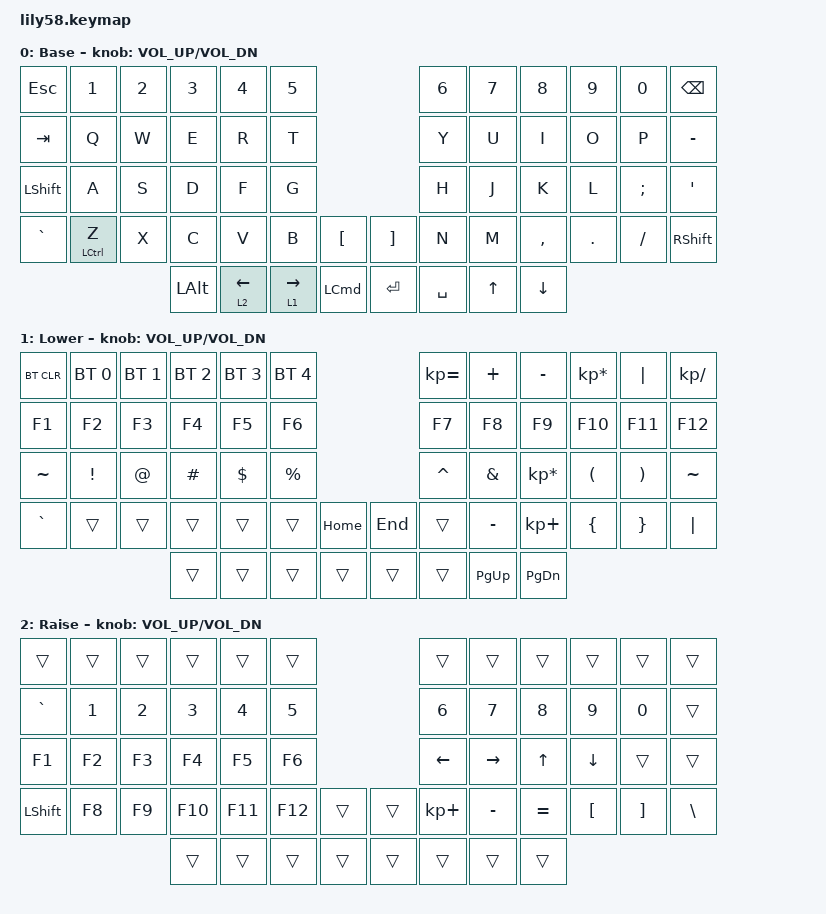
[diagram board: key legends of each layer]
/*
 * Copyright (c) 2020 The ZMK Contributors
 *
 * SPDX-License-Identifier: MIT
 */

#include <behaviors.dtsi>
#include <dt-bindings/zmk/bt.h>
#include <dt-bindings/zmk/keys.h>

/ {
    keymap {
        compatible = "zmk,keymap";

        default_layer {
            // ------------------------------------------------------------------------------------------------------------
            // |  ESC  |  1  |  2  |  3   |  4   |  5   |                   |  6   |  7    |  8    |  9   |   0   |   `   |
            // |  TAB  |  Q  |  W  |  E   |  R   |  T   |                   |  Y   |  U    |  I    |  O   |   P   |   -   |
            // |  CTRL |  A  |  S  |  D   |  F   |  G   |                   |  H   |  J    |  K    |  L   |   ;   |   '   |
            // | SHIFT |  Z  |  X  |  C   |  V   |  B   |   "["  |  |  "]"  |  N   |  M    |  ,    |  .   |   /   | SHIFT |
            //                     | ALT  | GUI  | LOWER|  SPACE |  | ENTER | RAISE| BSPC  | GUI   |

            display-name = "Base";
            bindings = <
&kp ESC         &kp N1       &kp N2  &kp N3        &kp N4            &kp N5                                            &kp N6     &kp N7        &kp N8     &kp N9   &kp N0    &kp BACKSPACE
&kp TAB         &kp Q        &kp W   &kp E         &kp R             &kp T                                             &kp Y      &kp U         &kp I      &kp O    &kp P     &kp MINUS
&kp LEFT_SHIFT  &kp A        &kp S   &kp D         &kp F             &kp G                                             &kp H      &kp J         &kp K      &kp L    &kp SEMI  &kp SQT
&kp GRAVE       &mt LCTRL Z  &kp X   &kp C         &kp V             &kp B              &kp LBKT            &kp RBKT   &kp N      &kp M         &kp COMMA  &kp DOT  &kp FSLH  &kp RIGHT_SHIFT
                                     &kp LEFT_ALT  &lt 2 LEFT_ARROW  &lt 1 RIGHT_ARROW  &kp LEFT_COMMAND    &kp ENTER  &kp SPACE  &kp UP_ARROW  &kp DOWN
            >;

            sensor-bindings = <&inc_dec_kp C_VOL_UP C_VOL_DN>;
        };

        lower_layer {
            // ------------------------------------------------------------------------------------------------------------
            // | BTCLR | BT1 | BT2 |  BT3 |  BT4 |  BT5 |                   |      |       |       |      |       |       |
            // |  F1   |  F2 |  F3 |  F4  |  F5  |  F6  |                   |  F7  |  F8   |  F9   |  F10 |  F11  |  F12  |
            // |   `   |  !  |  @  |  #   |  $   |  %   |                   |  ^   |  &    |  *    |  (   |   )   |   ~   |
            // |       |     |     |      |      |      |        |  |       |      |  _    |  +    |  {   |   }   |  "|"  |
            //                     |      |      |      |        |  |       |      |       |       |

            display-name = "Lower";
            bindings = <
&bt BT_CLR  &bt BT_SEL 0  &bt BT_SEL 1  &bt BT_SEL 2  &bt BT_SEL 3  &bt BT_SEL 4                       &kp KP_EQUAL  &kp PLUS   &kp MINUS        &kp KP_MULTIPLY  &kp PIPE  &kp KP_DIVIDE
&kp F1      &kp F2        &kp F3        &kp F4        &kp F5        &kp F6                             &kp F7        &kp F8     &kp F9           &kp F10          &kp F11   &kp F12
&kp TILDE   &kp EXCL      &kp AT        &kp HASH      &kp DOLLAR    &kp PRCNT                          &kp CARET     &kp AMPS   &kp KP_MULTIPLY  &kp LPAR         &kp RPAR  &kp TILDE
&kp GRAVE   &trans        &trans        &trans        &trans        &trans        &kp HOME    &kp END  &trans        &kp MINUS  &kp KP_PLUS      &kp LBRC         &kp RBRC  &kp PIPE
                                        &trans        &trans        &trans        &trans      &trans   &trans        &kp PG_UP  &kp PG_DN
            >;

            sensor-bindings = <&inc_dec_kp C_VOL_UP C_VOL_DN>;
        };

        raise_layer {
            // ------------------------------------------------------------------------------------------------------------
            // |       |     |     |      |      |      |                   |      |       |       |      |       |       |
            // |   `   |  1  |  2  |  3   |  4   |  5   |                   |  6   |   7   |   8   |  9   |   0   |       |
            // |   F1  |  F2 |  F3 |  F4  |  F5  |  F6  |                   |      |   <-  |   v   |  ^   |  ->   |       |
            // |   F7  |  F8 |  F9 |  F10 |  F11 |  F12 |        |  |       |  +   |   -   |   =   |  [   |   ]   |   \   |
            //                     |      |      |      |        |  |       |      |       |       |

            display-name = "Raise";
            bindings = <
&trans      &trans  &trans  &trans   &trans   &trans                     &trans          &trans     &trans        &trans    &trans    &trans
&kp GRAVE   &kp N1  &kp N2  &kp N3   &kp N4   &kp N5                     &kp N6          &kp N7     &kp N8        &kp N9    &kp N0    &trans
&kp F1      &kp F2  &kp F3  &kp F4   &kp F5   &kp F6                     &kp LEFT_ARROW  &kp RIGHT  &kp UP_ARROW  &kp DOWN  &trans    &trans
&kp LSHIFT  &kp F8  &kp F9  &kp F10  &kp F11  &kp F12  &trans    &trans  &kp KP_PLUS     &kp MINUS  &kp EQUAL     &kp LBKT  &kp RBKT  &kp BSLH
                            &trans   &trans   &trans   &trans    &trans  &trans          &trans     &trans
            >;

            sensor-bindings = <&inc_dec_kp C_VOL_UP C_VOL_DN>;
        };

        extra_1 { status = "reserved"; };

        extra_2 { status = "reserved"; };

        extra_3 { status = "reserved"; };
    };
};
